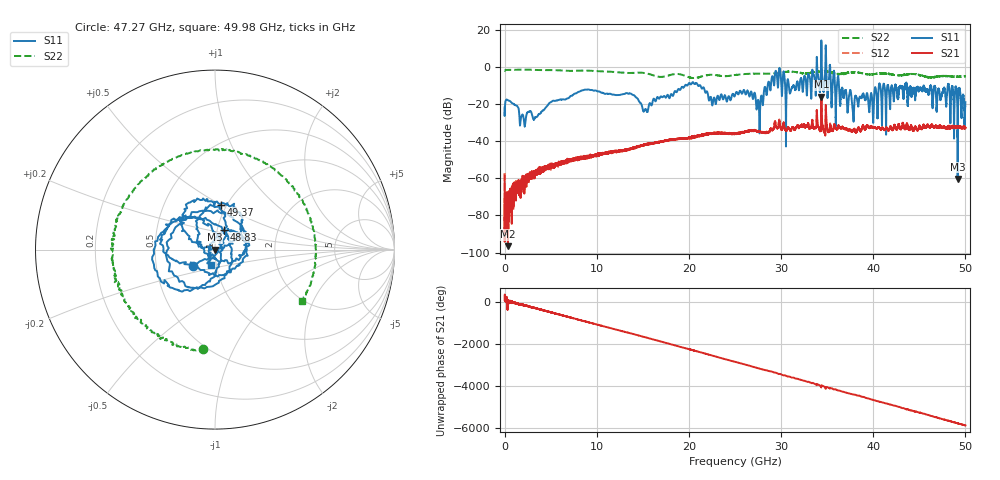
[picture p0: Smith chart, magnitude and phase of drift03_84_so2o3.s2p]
!Created with skrf (http://scikit-rf.org).
# Hz S RI R 50.0
!freq ReS11 ImS11 ReS21 ImS21 ReS12 ImS12 ReS22 ImS22
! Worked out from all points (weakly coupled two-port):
!   10001 points, 300 kHz to 50 GHz, reference 50 ohm
!   highest |S21| = -15.95 dB at 34.37 GHz (marker M1); lowest = -96.6 dB at 355.3 MHz (marker M2)
!   lowest |S11| = -60.3 dB at 49.16 GHz (marker M3), VSWR 1.00, Z = 49.9 + j0.0312 ohm
!   |S11| at or under -10 dB: start of sweep to 19.55 GHz; 21.25 GHz to 28.55 GHz (7.298 GHz wide, 29.3 % of centre); 36.28 GHz to 40.61 GHz (4.331 GHz wide, 11.3 % of centre) (the widest 3 of 40)
!   |S22| runs from -5.9 to -1.3 dB; largest |S21 - S12| = 0.028
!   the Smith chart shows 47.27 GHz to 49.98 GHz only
!   S11 on the Smith chart (normalised r, x): 47.27 GHz: 0.77, -0.15; 48.83 GHz: 1.08, +0.24; 49.37 GHz: 0.94, +0.50; 49.98 GHz: 0.94, -0.16
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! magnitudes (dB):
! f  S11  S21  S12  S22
! 300 kHz  -21.7  -58.4  -57.1  -2.1
! 355.3 MHz  -17.8  -96.6  -77.2  -1.4
! 3.295 GHz  -27.3  -56.3  -57.0  -1.5
! 8.335 GHz  -12.6  -48.6  -49.4  -1.9
! 15.29 GHz  -22.8  -41.7  -41.8  -3.3
! 16.67 GHz  -16.5  -40.6  -40.4  -5.1
! 20.26 GHz  -9.1  -38.0  -38.2  -5.8
! 22.71 GHz  -16.5  -35.5  -35.4  -4.2
! 25 GHz  -15.3  -35.7  -35.6  -4.3
! 27.52 GHz  -17.8  -34.6  -34.5  -3.5
! 29.28 GHz  -8.6  -31.2  -30.8  -3.3
! 30.73 GHz  -6.5  -32.6  -32.5  -2.4
! 33.34 GHz  -7.6  -31.1  -31.4  -2.9
! 34.37 GHz  14.4  -16.0  -17.3  -2.3
! 37.87 GHz  -29.1  -33.8  -34.0  -2.8
! 41.67 GHz  -11.3  -34.1  -33.9  -3.6
! 47.27 GHz  -16.2  -32.0  -32.0  -5.0
! 48.83 GHz  -18.3  -32.3  -32.4  -5.1
! 49.16 GHz  -60.3  -32.4  -32.2  -5.1
! 49.37 GHz  -12.0  -32.5  -32.7  -5.0
! 49.98 GHz  -21.2  -33.0  -32.6  -5.0
! 50 GHz  -18.9  -32.6  -32.8  -4.9
